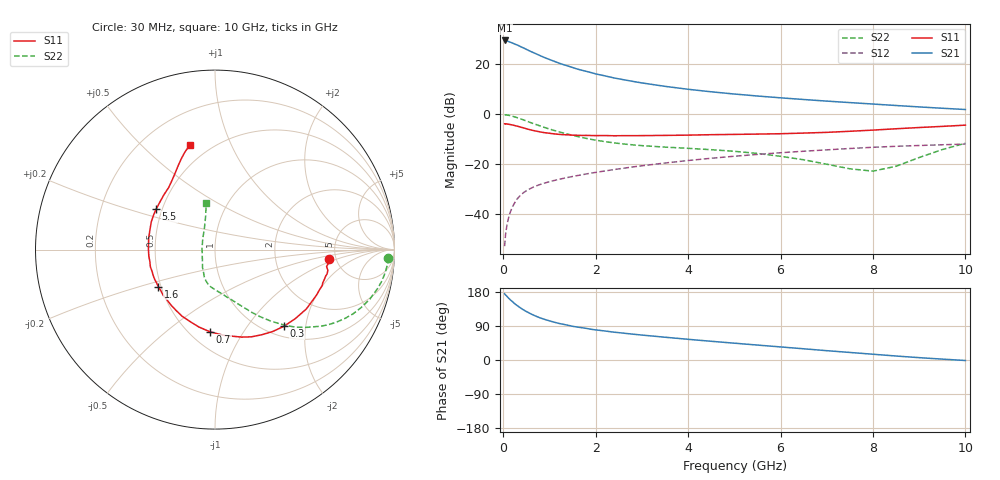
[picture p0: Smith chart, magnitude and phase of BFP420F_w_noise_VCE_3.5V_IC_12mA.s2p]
! Infineon Technologies  Discrete & RF Semiconductors
! BFP420F
! VCE =  3.5 V,  IC =  12 mA
! Common Emitter S-Parameters:  Sep 2011
# GHz  S  MA  R  50
!  f  S11  S21  S12  S22
! GHz  MAG  ANG  MAG  ANG  MAG  ANG  MAG  ANG
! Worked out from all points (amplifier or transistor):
!   54 points, 30 MHz to 10 GHz, reference 50 ohm
!   highest |S21| = 29.4 dB at 30 MHz (marker M1)
!   |S21| within 3 dB of that: start of sweep to 439.5 MHz
!   unconditionally stable (mu >= 1): 1.972 GHz to end of sweep
!   at 120 MHz: K = 0.23, MSG = 35.1 dB, |S12| = -41.2 dB
!   at 1.3 GHz: K = 0.79, MSG = 22.7 dB, |S12| = -25.7 dB
!   at 10 GHz: K = 1.27, MAG = 3.8 dB, |S12| = -12.0 dB
!   lowest NFmin = 1.26 dB at 450 MHz
!   S11 on the Smith chart (normalised r, x): 30 MHz: 4.40, -0.78; 300 MHz: 1.19, -1.52; 700 MHz: 0.62, -0.73; 1.6 GHz: 0.48, -0.23; 5.5 GHz: 0.46, +0.25; 10 GHz: 0.39, +0.71
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0.03  0.6392 -4.7  29.53 174.7  0.0023 73.7  0.9656 -2.7
0.05  0.6288 -8.6  29.13 171.6  0.0039 82.2  0.9644 -4.5
0.07  0.639 -12.2  29.04 169.5  0.0052 77.7  0.96 -6.5
0.1  0.6284 -17.1  28.53 165.3  0.0073 79.1  0.9508 -9.3
0.15  0.6176 -25.3  27.31 159.2  0.0108 76.8  0.9306 -13.6
0.25  0.59 -40.7  25.03 148.5  0.017 72.3  0.8772 -21.5
0.3  0.5744 -48.1  24.02 143.8  0.0201 70.2  0.8489 -24.9
0.35  0.558 -54.9  22.86 139.4  0.0227 68.2  0.8176 -28.1
0.45  0.5268 -67.3  20.7 131.5  0.0274 64.8  0.7581 -33.5
0.6  0.4813 -83.7  17.73 121.6  0.033 61.0  0.671 -40.2
0.7  0.4593 -93.3  16.15 116.0  0.0364 59.4  0.623 -43.9
0.9  0.4239 -109.3  13.37 107.0  0.042 57.2  0.5381 -49.6
1.1  0.4023 -122.7  11.36 99.9  0.0471 56.1  0.4711 -54.4
1.3  0.3876 -133.5  9.741 94.2  0.0519 55.7  0.4196 -58.4
1.6  0.3772 -146.8  7.942 87.0  0.059 55.2  0.3583 -63.9
1.7  0.3744 -150.5  7.507 85.2  0.0613 55.2  0.3411 -65.5
2.4  0.3688 -170.1  5.26 73.4  0.078 54.5  0.2661 -77.2
3.5  0.375 170.0  3.579 60.1  0.1053 52.0  0.2188 -91.9
5.5  0.3981 145.3  2.295 39.4  0.1564 43.1  0.1637 -111.3
7  0.4313 126.8  1.815 24.6  0.1929 34.6  0.0997 -134.3
8.5  0.5089 113.9  1.483 10.5  0.227 24.8  0.0908 138.7
10  0.6007 103.4  1.233 -1.3  0.2517 15.9  0.2617 100.8
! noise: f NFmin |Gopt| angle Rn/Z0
0.45  1.26  0.03  161  0.12
0.9  1.26  0.06  135  0.14
1.9  1.4  0.17  170  0.18
2.4  1.46  0.17  173  0.12
3.5  1.72  0.22  -173  0.16
